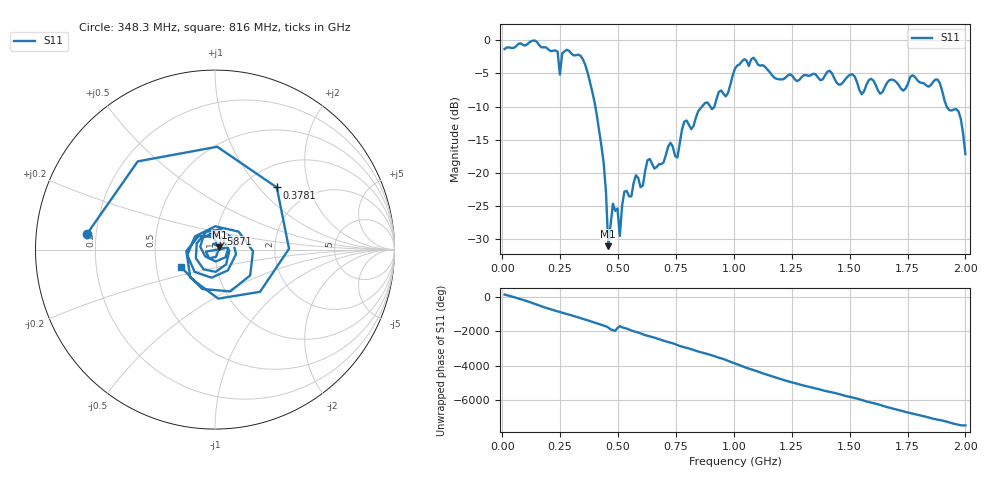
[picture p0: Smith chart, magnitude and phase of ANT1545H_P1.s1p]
!Created with skrf (http://scikit-rf.org).
# Hz S RI R 50.0
!freq ReS11 ImS11
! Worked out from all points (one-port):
!   201 points, 10 MHz to 2 GHz, reference 50 ohm
!   lowest |S11| = -31.1 dB at 457.8 MHz (marker M1), VSWR 1.06, Z = 52.5 + j1.37 ohm
!   |S11| at or under -10 dB: 401.7 MHz to 862.8 MHz (461.1 MHz wide, 72.9 % of centre); 898.4 MHz to 916.2 MHz (17.79 MHz wide, 1.96 % of centre); 1.919 GHz to end of sweep
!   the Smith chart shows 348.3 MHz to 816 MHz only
!   S11 on the Smith chart (normalised r, x): 348.3 MHz: 0.16, +0.06; 378.1 MHz: 1.38, +1.26; 587.1 MHz: 0.96, +0.17; 816 MHz: 0.67, -0.13
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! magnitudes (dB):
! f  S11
! 10 MHz  -1.3
! 139.3 MHz  0.0
! 238.8 MHz  -1.7
! 248.8 MHz  -5.2
! 258.8 MHz  -1.9
! 348.3 MHz  -2.9
! 378.1 MHz  -6.2
! 437.9 MHz  -18.6
! 457.8 MHz  -31.1
! 477.6 MHz  -24.7
! 497.6 MHz  -25.4
! 507.5 MHz  -29.6
! 527.4 MHz  -22.9
! 587.1 MHz  -20.8
! 726.4 MHz  -15.5
! 756.2 MHz  -17.7
! 786.1 MHz  -12.3
! 816 MHz  -13.4
! 965.2 MHz  -8.5
! 1.005 GHz  -4.2
! 1.254 GHz  -5.4
! 1.502 GHz  -5.2
! 1.552 GHz  -8.1
! 1.751 GHz  -6.6
! 1.881 GHz  -5.9
! 1.92 GHz  -10.1
! 1.97 GHz  -10.7
! 2 GHz  -17.2
